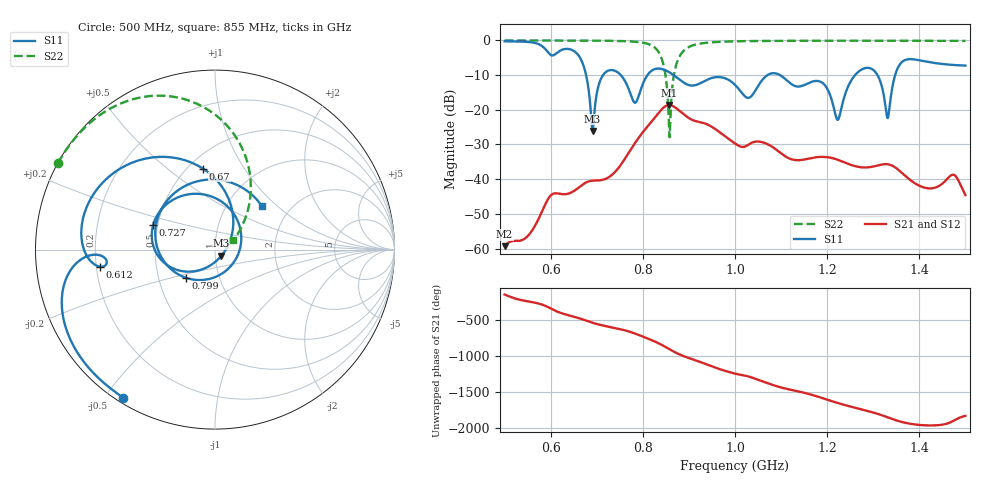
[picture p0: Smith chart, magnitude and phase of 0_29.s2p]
! TOUCHSTONE file generated by CST MICROWAVE STUDIO
! Date and time: Sat Oct 24 10:46:46 2020
! Project name: Scenario_1_Planar_Body_Tissue_Center.cst
! Parameters = {hfat=3; hmuscle=50; hskin=1.5; hgap=25; Wtissue=700; Ltissue=700; L_HA=400; MT=2.54; Rad_Dielectric=30; Rad_Lower=7.3; Rad_Upper=30; a_HA=580; a_WG=246; b_HA=500; b_WG=121; c_HA=0; c_WG=187; d_feed=85; dx1=657.96; h_feed=15; h_lower=18; h_upper=40}
! Header version: 2018
! Port assignment regex: !\s*Touchstone port\s*([0-9]+)\s*=\s*(CST MWS port|CST DS port)\s*([0-9]+|Zmin|Zmax)\s*\(\"(.*)\"\)(\s*mode\s*([0-9]+))?.*
! Touchstone port assignment:
! Touchstone port 1 = CST MWS port 1 ("")
! Touchstone port 2 = CST MWS port 2 ("")
# GHz S DB R 50
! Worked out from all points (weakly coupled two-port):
!   1003 points, 500 MHz to 1.5 GHz, reference 50 ohm
!   highest |S21| = -18.62 dB at 857 MHz (marker M1); lowest = -59.3 dB at 500 MHz (marker M2)
!   lowest |S11| = -26.1 dB at 691 MHz (marker M3), VSWR 1.10, Z = 53.6 - j3.66 ohm
!   |S11| at or under -10 dB: 752.2 MHz to 810 MHz (57.81 MHz wide, 7.4 % of centre); 866.8 MHz to 1.07 GHz (203.6 MHz wide, 21 % of centre); 1.098 GHz to 1.261 GHz (162.9 MHz wide, 13.8 % of centre)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
!   |S22| runs from -27.9 to 0.0 dB; largest |S21 - S12| = 1.3e-05
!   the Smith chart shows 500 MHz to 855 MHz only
!   S11 on the Smith chart (normalised r, x): 500 MHz: 0.02, -0.55; 612 MHz: 0.21, -0.07; 670 MHz: 0.59, +0.67; 727 MHz: 0.47, +0.15; 799 MHz: 0.69, -0.23; 855 MHz: 1.45, +0.80
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0.5  -0.25 -122.0  -59.31 -141.3  -59.31 -141.3  -0.01 151.1
0.612  -3.75 -171.6  -44.06 -12.8  -44.06 -12.8  -0.02 143.2
0.667  -5.85 106.3  -41.79 -122.0  -41.79 -122.0  -0.04 138.4
0.67  -6.81 98.5  -41.50 -128.4  -41.50 -128.4  -0.04 138.1
0.691  -26.09 -43.4  -40.43 -174.4  -40.43 -174.4  -0.06 135.9
0.727  -8.61 158.1  -39.34 129.2  -39.34 129.2  -0.11 131.3
0.772  -14.96 37.3  -31.82 59.8  -31.82 59.8  -0.28 122.7
0.799  -12.89 -136.4  -26.63 -3.6  -26.63 -3.6  -0.62 113.3
0.834  -8.11 104.6  -20.91 -99.3  -20.91 -99.3  -3.30 83.6
0.855  -8.98 42.6  -18.64 -172.7  -18.64 -172.7  -18.79 27.0
0.857  -9.13 36.6  -18.62 179.9  -18.62 179.9  -25.52 -5.9
0.888  -12.11 -62.6  -21.22 82.7  -21.22 82.7  -3.07 178.4
0.945  -11.02 85.5  -24.55 -50.1  -24.55 -50.1  -0.59 150.2
1  -12.80 -72.9  -29.70 -162.1  -29.70 -162.1  -0.26 140.3
1.076  -9.62 -13.7  -30.28 52.4  -30.28 52.4  -0.14 131.9
1.126  -12.88 -174.3  -34.38 -34.0  -34.38 -34.0  -0.11 127.5
1.167  -11.90 54.7  -33.86 -98.2  -33.86 -98.2  -0.10 124.2
1.223  -22.91 -158.3  -34.41 148.4  -34.41 148.4  -0.08 119.9
1.294  -8.04 0.8  -36.50 26.9  -36.50 26.9  -0.09 114.6
1.334  -20.72 34.6  -35.76 -57.4  -35.76 -57.4  -0.08 111.5
1.367  -5.77 11.3  -38.76 -123.7  -38.76 -123.7  -0.09 109.0
1.5  -7.25 -49.8  -44.57 -30.6  -44.57 -30.6  -0.13 98.0
